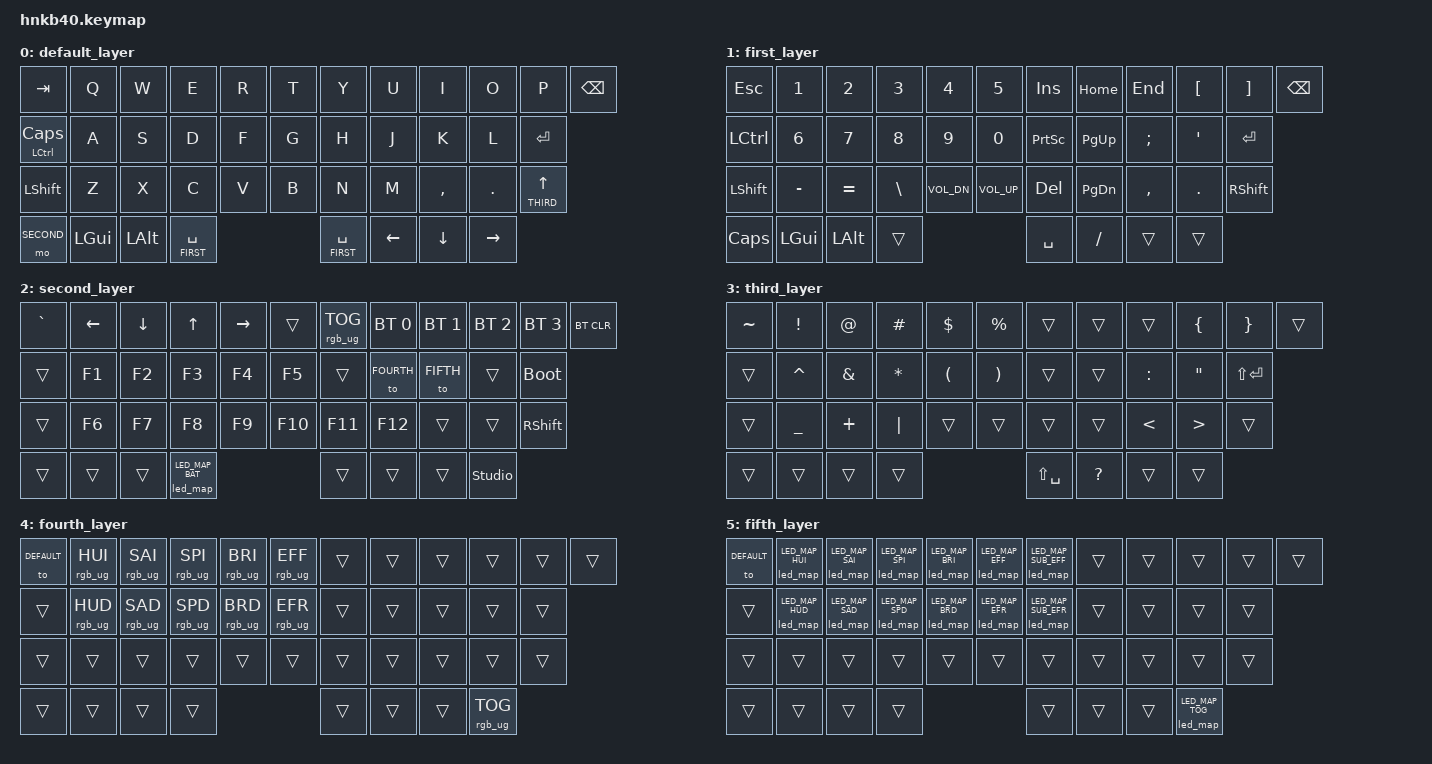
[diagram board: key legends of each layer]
#include <behaviors.dtsi>
#include <dt-bindings/zmk/keys.h>
#include <dt-bindings/zmk/rgb.h>
#include <dt-bindings/zmk/bt.h>
#include <dt-bindings/zmk/led_map.h>

#ifdef CONFIG_ZMK_STUDIO
#include <dt-bindings/zmk/studio.h>
#define STUDIO_UNLOCK &studio_unlock
#else
#define STUDIO_UNLOCK &trans
#endif

#define DEFAULT 0
#define FIRST   1
#define SECOND  2
#define THIRD   3
#define FOURTH  4
#define FIFTH   5

/ {
    keymap {
        compatible = "zmk,keymap";

        default_layer {

            // | TAB         | Q | W | E | R | T | Y | U | I | O | P | BSPC |
            // | CAPS/CTRL   | A | S | D | F | G | H | J | K | L | ENTER     |
            // | LSHIFT      | Z | X | C | V | B | N | M | , | . | LT(3,UP)  |
            // | MO(2)       | WIN | ALT | LT(1,SPACE) | LT(1,SPACE) | LEFT | DOWN | RIGHT |
            bindings = <
                &kp TAB         &kp Q     &kp W     &kp E     &kp R      &kp T        &kp Y     &kp U     &kp I     &kp O     &kp P     &kp BSPC
                &mt LCTRL CAPS  &kp A     &kp S     &kp D     &kp F      &kp G        &kp H     &kp J     &kp K     &kp L     &kp RET
                &kp LSHFT       &kp Z     &kp X     &kp C     &kp V      &kp B        &kp N     &kp M     &kp COMMA &kp DOT   &lt THIRD UP
                &mo SECOND      &kp LGUI  &kp LALT  &lt FIRST SPACE         &lt FIRST SPACE     &kp LEFT  &kp DOWN  &kp RIGHT
            >;
        };

        first_layer {

            // | ESC | 1 | 2 | 3 | 4 | 5 | INS | HOME | END | [ | ] | BSPC |
            // | CTRL | 6 | 7 | 8 | 9 | 0 | PSCRN | PGUP | ; | ' | ENTER |
            // | SHIFT | - | = | \ | VOL- | VOL+ | DEL | PGDN | , | . | SHIFT |
            // | CAPS | WIN | ALT | --- | SPACE | / | --- | --- |
            bindings = <
                &kp ESC     &kp N1    &kp N2    &kp N3    &kp N4      &kp N5      &kp INS     &kp HOME   &kp END     &kp LBKT    &kp RBKT     &kp BSPC
                &kp LCTRL   &kp N6    &kp N7    &kp N8    &kp N9      &kp N0      &kp PSCRN   &kp PG_UP  &kp SEMI    &kp SQT     &kp RET
                &kp LSHFT   &kp MINUS &kp EQUAL &kp BSLH  &kp C_VOL_DN &kp C_VOL_UP &kp DEL    &kp PG_DN  &kp COMMA   &kp DOT     &kp RSHFT
                &kp CAPS    &kp LGUI  &kp LALT  &trans     &kp SPACE    &kp SLASH   &trans      &trans
            >;
        };

        second_layer {

            // | ` | ← | ↓ | ↑ | → | --- | RGB_TOG  | BT0 | BT1 | BT2 | BT3 | CLR |
            // | --- | F1 | F2 | F3 | F4 | F5       | --- | TO(4) | TO(5) | --- | BOOT |
            // | --- | F6 | F7 | F8 | F9 | F10 | F11 | F12 | --- | --- | SHIFT |
            // | --- | --- | --- | BAT | --- | --- | --- | studio_unlock
            bindings = <
                &kp GRAVE   &kp LEFT   &kp DOWN  &kp UP     &kp RIGHT    &trans &rgb_ug RGB_TOG     &bt BT_SEL 0 &bt BT_SEL 1 &bt BT_SEL 2 &bt BT_SEL 3 &bt BT_CLR
                &trans      &kp F1     &kp F2    &kp F3     &kp F4       &kp F5      &trans              &to FOURTH  &to FIFTH   &trans      &bootloader
                &trans      &kp F6     &kp F7    &kp F8     &kp F9       &kp F10     &kp F11     &kp F12     &trans      &trans      &kp RSHFT
                &trans      &trans     &trans    &led_map LED_MAP_BAT     &trans      &trans     &trans     &studio_unlock
            >;
        };

        third_layer {

            // | ~ | ! | @ | # | $ | % | --- | --- | --- | [ | ] | --- |
            // | --- | ^ | & | * | ( | ) | --- | --- | : | " | Shift+Enter |
            // | --- | _ | + | | | --- | --- | --- | --- | < | > | --- |
            // | --- | --- | --- | --- | Shift+Space | ? | --- | --- |
            bindings = <
                &kp TILDE   &kp EXCL   &kp AT     &kp POUND &kp DLLR     &kp PRCNT   &trans     &trans     &trans      &kp LBRC     &kp RBRC        &trans
                &trans      &kp CARET  &kp AMPS   &kp STAR  &kp LPAR     &kp RPAR    &trans     &trans      &kp COLON  &kp DQT      &kp LS(RET)
                &trans      &kp UNDER  &kp PLUS   &kp PIPE  &trans       &trans      &trans     &trans     &kp LESS_THAN &kp GREATER_THAN &trans
                &trans      &trans     &trans     &trans    &kp LS(SPACE) &kp QMARK  &trans     &trans
            >;
        };

        fourth_layer {

            // Underglow controls
            // | TO(0) | HUI | SAI | SPI | BRI | EFF | --- | --- | --- | --- | --- | --- |
            // | ---   | HUD | SAD | SPD | BRD | EFR | --- | --- | --- | --- | --- |
            // | ---   | --- | --- | --- | --- | --- | --- | --- | --- | --- | --- |
            // | ---   | --- | --- | --- | --- | --- | --- | TOG |
            bindings = <
                &to DEFAULT  &rgb_ug RGB_HUI  &rgb_ug RGB_SAI  &rgb_ug RGB_SPI  &rgb_ug RGB_BRI  &rgb_ug RGB_EFF  &trans  &trans  &trans  &trans  &trans  &trans
                &trans  &rgb_ug RGB_HUD  &rgb_ug RGB_SAD  &rgb_ug RGB_SPD  &rgb_ug RGB_BRD  &rgb_ug RGB_EFR  &trans  &trans  &trans  &trans  &trans
                &trans  &trans  &trans  &trans  &trans  &trans  &trans  &trans  &trans  &trans  &trans
                &trans  &trans  &trans  &trans  &trans  &trans  &trans  &rgb_ug RGB_TOG
            >;
        };

        fifth_layer {

            // Per-key LED controls
            // | TO(0) | HUI | SAI | SPI | BRI | EFF | SUB_EFF | --- | --- | --- | --- | --- |
            // | ---   | HUD | SAD | SPD | BRD | EFR | SUB_EFR | --- | --- | --- | --- |
            // | ---   | --- | --- | --- | --- | --- | --- | --- | --- | --- | --- |
            // | ---   | --- | --- | --- | --- | --- | --- | TOG |
            bindings = <
                &to DEFAULT  &led_map LED_MAP_HUI  &led_map LED_MAP_SAI  &led_map LED_MAP_SPI  &led_map LED_MAP_BRI  &led_map LED_MAP_EFF  &led_map LED_MAP_SUB_EFF  &trans  &trans  &trans  &trans  &trans
                &trans  &led_map LED_MAP_HUD  &led_map LED_MAP_SAD  &led_map LED_MAP_SPD  &led_map LED_MAP_BRD  &led_map LED_MAP_EFR  &led_map LED_MAP_SUB_EFR  &trans  &trans  &trans  &trans
                &trans  &trans  &trans  &trans  &trans  &trans  &trans  &trans  &trans  &trans  &trans
                &trans  &trans  &trans  &trans  &trans  &trans  &trans  &led_map LED_MAP_TOG
            >;
        };

        // Reserved layers for ZMK Studio
        extra1 {
            status = "reserved";
        };

        extra2 {
            status = "reserved";
        };

        extra3 {
            status = "reserved";
        };

        extra4 {
            status = "reserved";
        };

        extra5 {
            status = "reserved";
        };
    };
};
